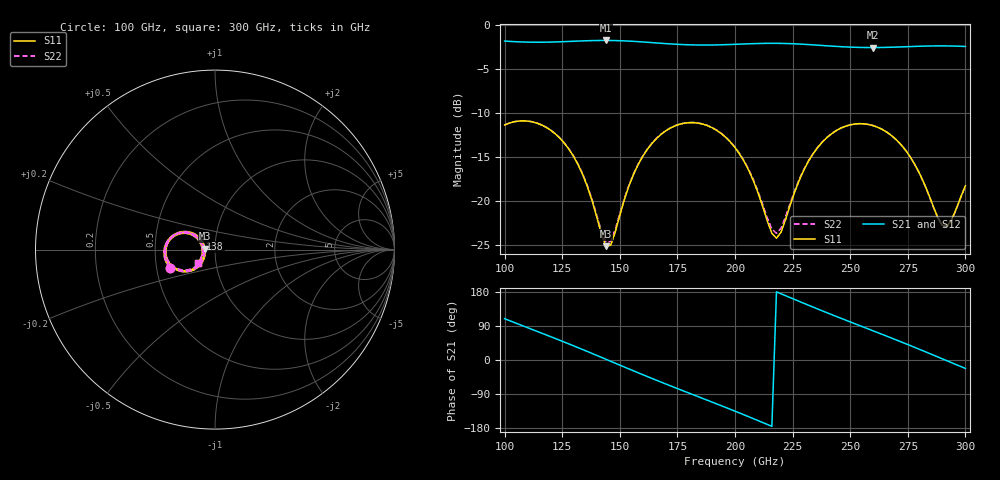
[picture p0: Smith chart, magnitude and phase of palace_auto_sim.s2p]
#  GHZ S DB R 50
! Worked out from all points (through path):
!   101 points, 100 GHz to 300 GHz, reference 50 ohm
!   highest |S21| = -1.76 dB at 144 GHz (marker M1); lowest = -2.6 dB at 260 GHz (marker M2)
!   group delay of S21, straight-line fit = 6.83 ps
!   lowest |S11| = -25.2 dB at 144 GHz (marker M3), VSWR 1.12, Z = 44.8 + j0.476 ohm
!   |S11| at or under -10 dB: start of sweep to end of sweep
!   |S22| runs from -24.7 to -10.9 dB; largest |S21 - S12| = 8.6e-14
!   S11 on the Smith chart (normalised r, x): 100 GHz: 0.59, -0.13; 138 GHz: 0.85, +0.10; 300 GHz: 0.82, -0.13
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100  -11.37 -158.3  -1.83 109.0  -1.83 109.0  -11.36 -158.0
116  -11.37 170.1  -1.96 71.1  -1.96 71.1  -11.35 170.6
126  -13.47 151.9  -1.89 47.1  -1.89 47.1  -13.44 152.6
134  -17.09 142.0  -1.81 27.3  -1.81 27.3  -17.01 143.1
138  -20.02 142.9  -1.78 17.2  -1.78 17.2  -19.88 144.3
144  -25.16 174.5  -1.76 1.9  -1.76 1.9  -24.71 175.1
146  -25.07 -164.4  -1.76 -3.2  -1.76 -3.2  -24.64 -165.1
154  -18.29 -133.5  -1.83 -23.7  -1.83 -23.7  -18.20 -134.6
168  -12.42 -151.2  -2.08 -58.5  -2.08 -58.5  -12.40 -151.6
184  -11.16 178.9  -2.27 -96.7  -2.27 -96.7  -11.14 178.9
200  -13.95 151.1  -2.20 -135.0  -2.20 -135.0  -13.90 151.6
210  -19.09 144.9  -2.11 -159.9  -2.11 -159.9  -18.92 146.1
218  -24.26 -175.4  -2.09 179.8  -2.09 179.8  -23.71 -176.0
226  -18.93 -137.5  -2.14 159.4  -2.14 159.4  -18.78 -139.6
234  -14.62 -141.6  -2.26 139.3  -2.26 139.3  -14.57 -143.1
246  -11.73 -160.8  -2.46 110.1  -2.46 110.1  -11.71 -161.9
260  -11.45 174.1  -2.56 76.8  -2.56 76.8  -11.45 173.2
268  -12.59 160.6  -2.53 57.7  -2.53 57.7  -12.59 159.8
280  -16.83 147.5  -2.42 28.3  -2.42 28.3  -16.85 146.5
290  -22.79 174.5  -2.38 3.1  -2.38 3.1  -22.85 173.6
294  -22.17 -158.6  -2.39 -7.1  -2.39 -7.1  -22.22 -159.2
300  -18.29 -141.7  -2.44 -22.3  -2.44 -22.3  -18.32 -142.2
